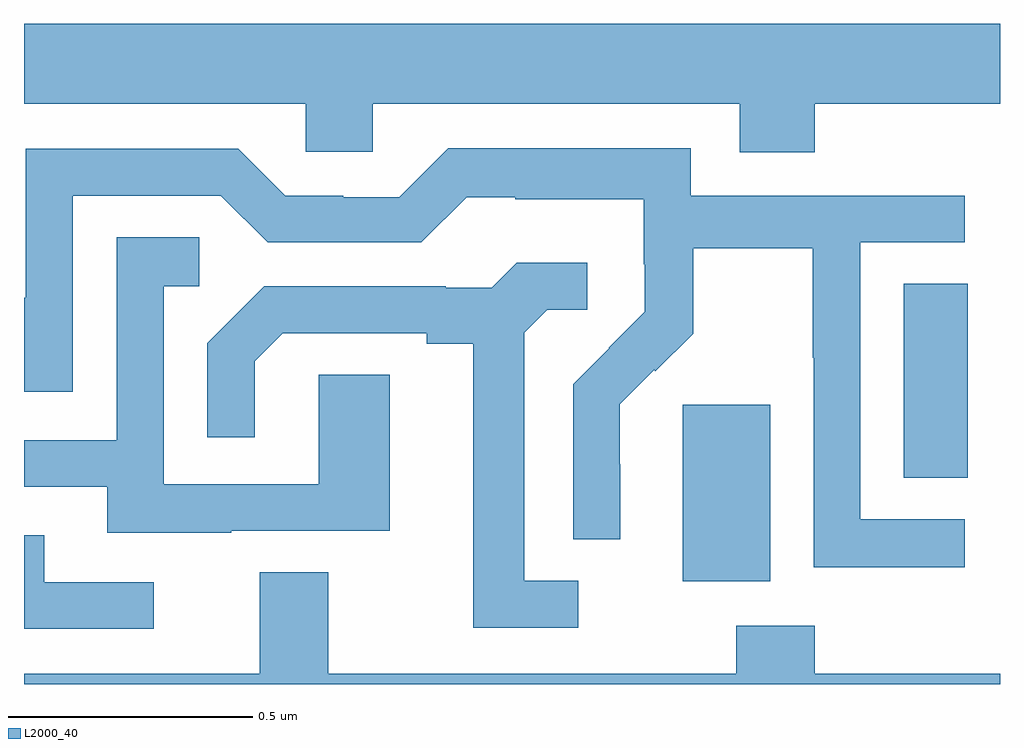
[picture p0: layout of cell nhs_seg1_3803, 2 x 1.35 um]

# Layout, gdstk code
import gdstk
lib = gdstk.Library(unit=1e-6, precision=1e-09)
def R(c, l, rs):  # rectangles x0, y0, x1, y1
    for r in rs: c.add(gdstk.rectangle(r[:2], r[2:], *l))
def P(c, l, *ps):  # polygons
    for p in ps: c.add(gdstk.Polygon(p, *l))
L2000_40 = (2000, 40)

nhs_seg1_3803 = lib.new_cell('nhs_seg1_3803')
R(nhs_seg1_3803, L2000_40, [(159.35,561.41,159.529,561.771), (159.803,561.622,159.934,562.019)])
P(nhs_seg1_3803, L2000_40, [(159.62,562.388),(160,562.388),(160,562.552),(158,562.552),(158,562.388),(158.577,562.388),(158.577,562.29),(158.715,562.29),(158.715,562.388),(159.467,562.388),(159.467,562.289),(159.62,562.289)],
  [(159.928,561.537),(159.714,561.537),(159.714,562.104),(159.928,562.104),(159.928,562.2),(159.366,562.2),(159.366,562.297),(158.869,562.297),(158.769,562.197),(158.654,562.197),(158.654,562.2),(158.535,562.2),(158.439,562.296),(158.004,562.296),(158.004,561.991),(158,561.991),(158,561.798),(158.1,561.798),(158.1,562.2),(158.403,562.2),(158.499,562.104),(158.814,562.104),(158.907,562.197),(159.007,562.197),(159.007,562.193),(159.27,562.193),(159.27,562.059),(159.272,562.059),(159.272,561.962),(159.198,561.888),(159.199,561.887),(159.126,561.814),(159.126,561.496),(159.222,561.496),(159.222,561.65),(159.221,561.65),(159.221,561.773),(159.291,561.843),(159.294,561.84),(159.371,561.917),(159.371,562.092),(159.616,562.092),(159.616,561.868),(159.618,561.868),(159.618,561.439),(159.928,561.439)],
  [(158.425,561.513),(158.749,561.513),(158.749,561.833),(158.604,561.833),(158.604,561.609),(158.286,561.609),(158.286,562.014),(158.359,562.014),(158.359,562.115),(158.19,562.115),(158.19,561.699),(158,561.699),(158,561.603),(158.171,561.603),(158.171,561.509),(158.425,561.509)],
  [(159.136,561.411),(159.025,561.411),(159.025,561.919),(159.072,561.966),(159.154,561.966),(159.154,562.063),(159.01,562.063),(158.958,562.011),(158.864,562.011),(158.864,562.014),(158.492,562.014),(158.376,561.898),(158.376,561.705),(158.473,561.705),(158.473,561.861),(158.53,561.918),(158.825,561.918),(158.825,561.896),(158.921,561.896),(158.921,561.315),(159.136,561.315)],
  [(158.266,561.408),(158.041,561.408),(158.041,561.504),(158,561.504),(158,561.312),(158.266,561.312)],
  [(160,561.22),(159.62,561.22),(159.62,561.319),(159.46,561.319),(159.46,561.22),(158.623,561.22),(158.623,561.428),(158.483,561.428),(158.483,561.22),(158,561.22),(158,561.199),(160,561.199)])

lib.write_gds('nhs_seg1_3803.gds')
